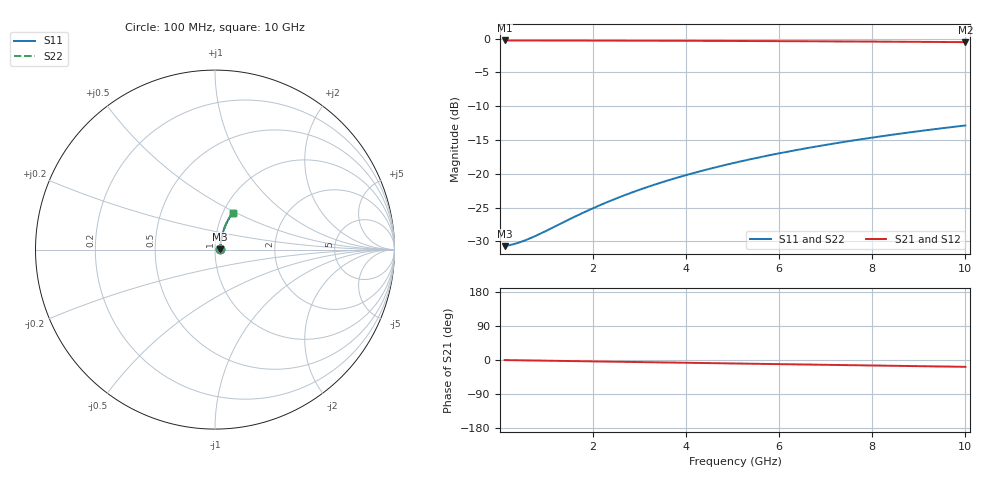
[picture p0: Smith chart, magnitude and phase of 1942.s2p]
# Hz S RI R 50.00
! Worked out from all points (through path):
!   100 points, 100 MHz to 10 GHz, reference 50 ohm
!   highest |S21| = -0.26 dB at 100 MHz (marker M1); lowest = -0.5 dB at 10 GHz (marker M2)
!   group delay of S21, straight-line fit = 5.01 ps
!   lowest |S11| = -30.7 dB at 100 MHz (marker M3), VSWR 1.06, Z = 53 + j0.238 ohm
!   |S11| at or under -10 dB: start of sweep to end of sweep
!   |S22| runs from -30.7 to -12.8 dB; largest |S21 - S12| = 0
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1e8  0.029 0.00224  0.971 -0.0031  0.971 -0.0031  0.029 0.00224
3e8  0.0294 0.00673  0.9706 -0.00931  0.9706 -0.00931  0.0294 0.00673
4e8  0.0295 0.00897  0.9704 -0.0124  0.9704 -0.0124  0.0295 0.00897
6e8  0.0299 0.0134  0.9701 -0.0186  0.9701 -0.0186  0.0299 0.0134
9e8  0.0304 0.0202  0.9696 -0.0279  0.9696 -0.0279  0.0304 0.0202
1.5e9  0.0317 0.0335  0.9682 -0.0464  0.9682 -0.0464  0.0317 0.0335
1.8e9  0.0325 0.0402  0.9673 -0.0556  0.9673 -0.0556  0.0325 0.0402
2.2e9  0.0338 0.049  0.966 -0.0679  0.966 -0.0679  0.0338 0.049
2.6e9  0.0353 0.0578  0.9644 -0.0802  0.9644 -0.0802  0.0353 0.0578
3e9  0.037 0.0666  0.9627 -0.0924  0.9627 -0.0924  0.037 0.0666
3.4e9  0.0389 0.0753  0.9607 -0.1045  0.9607 -0.1045  0.0389 0.0753
3.8e9  0.041 0.0839  0.9584 -0.1166  0.9584 -0.1166  0.041 0.0839
4.2e9  0.0433 0.0925  0.956 -0.1286  0.956 -0.1286  0.0433 0.0925
4.6e9  0.0459 0.101  0.9533 -0.1405  0.9533 -0.1405  0.0459 0.101
5.1e9  0.0493 0.1115  0.9497 -0.1554  0.9497 -0.1554  0.0493 0.1115
5.5e9  0.0523 0.1198  0.9465 -0.1671  0.9465 -0.1671  0.0523 0.1198
5.9e9  0.0555 0.128  0.9431 -0.1788  0.9431 -0.1788  0.0555 0.128
6.7e9  0.0625 0.1441  0.9358 -0.2018  0.9358 -0.2018  0.0625 0.1441
7.5e9  0.0702 0.1597  0.9276 -0.2244  0.9276 -0.2244  0.0702 0.1597
8.4e9  0.0798 0.1768  0.9175 -0.2492  0.9175 -0.2492  0.0798 0.1768
9.2e9  0.089 0.1913  0.9078 -0.2707  0.9078 -0.2707  0.089 0.1913
1e10  0.0988 0.2053  0.8973 -0.2917  0.8973 -0.2917  0.0988 0.2053
